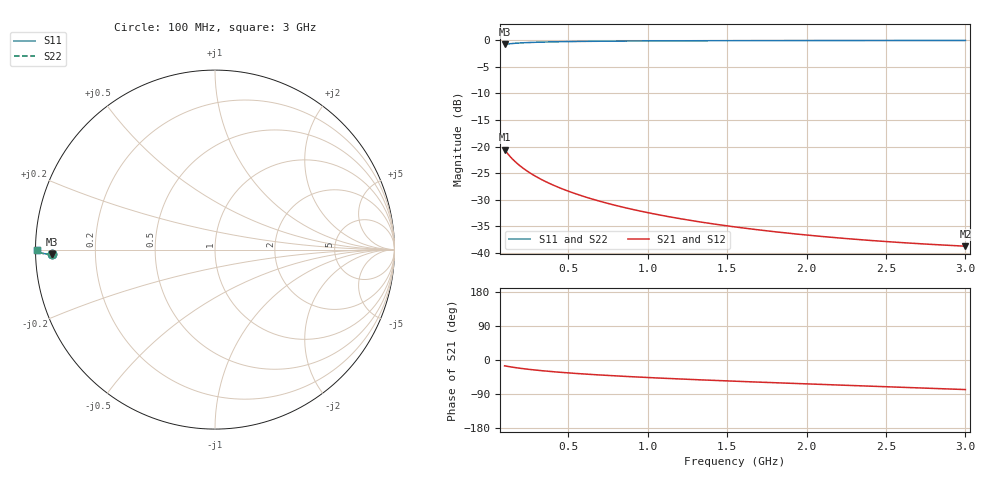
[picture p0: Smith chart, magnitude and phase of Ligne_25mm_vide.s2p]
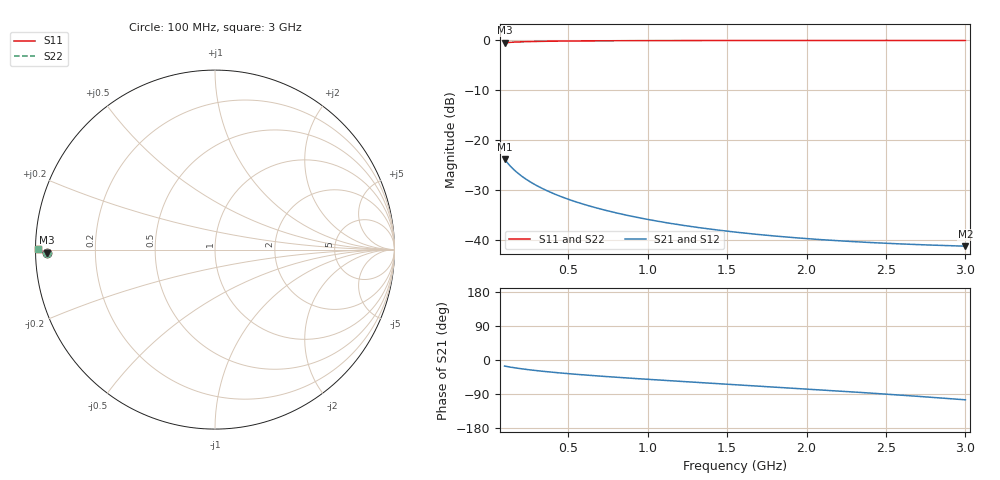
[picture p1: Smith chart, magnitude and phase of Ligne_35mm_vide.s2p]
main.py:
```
"""
Calculates the sum of two numbers.

Args:
    a (int): The first number to add.
    b (int): The second number to add.

Returns:
    int: The sum of the two input numbers.
"""

from matplotlib import pyplot as plt

from fonctions import (
    charger_fichier_s2p, deembed, propagation,
    degre_lin, linear_fit, eigenvalues,
    gamma_to_angle, get_tan_delta,
    plot_s_db_deg, plot_er_tan_delta)

if __name__ ==  "__main__":
    CHEMIN = 'my_test_data/datas' # Contenant les fichiers S2P
    FICHIERS = {
        "air_l1"   : 'Ligne_25mm_vide.s2p',
        "air_l2"   : 'Ligne_35mm_vide.s2p',
        "ref_l2"   : 'Ligne_35mm_4Rogers.s2p',
        "cible_l2" : 'Ligne_35mm_2FR4.s2p'
    }
    ER_REF = 3.4

    # NE PAS MODIFIFER SI VOUS N'ETES PAS SUR
    # Chargement des fichiers
    air_l1 = charger_fichier_s2p(
        fichier = f'{CHEMIN}/{FICHIERS["air_l1"]}',
        nom_fichier="Ligne L1 air")
    air_l2 = charger_fichier_s2p(
        fichier = f'{CHEMIN}/{FICHIERS["air_l2"]}',
        nom_fichier="Ligne L2 air")

    ref_l2 = charger_fichier_s2p(
        fichier = f'{CHEMIN}/{FICHIERS["ref_l2"]}',
        nom_fichier="Ligne L2 Réf")
    cible_l2 = charger_fichier_s2p(
        fichier = f'{CHEMIN}/{FICHIERS["cible_l2"]}',
        nom_fichier="ligne 35mm milieu")

    # Deembed
    m_air, m_ref, m_cible = deembed(
        air_l1 = air_l1,
        air_l2 = air_l2,
        ref_l2 = ref_l2,
        cible_l2 = cible_l2
        )

    # Valeurs propres lambda
    lambda_air_1, lambda_air_2 = eigenvalues(m_air)
    lambda_ref_1, lambda_ref_2 = eigenvalues(m_ref)
    lambda_cible_1, lambda_cible_2 = eigenvalues(m_cible)

    # Constante de propagation gamma
    gamma_2_air = propagation(lambda_air_1, lambda_air_2)[1]
    gamma_2_ref = propagation(lambda_ref_1, lambda_ref_2)[1]
    gamma_2_cible = propagation(lambda_cible_1, lambda_cible_2)[1]

    # Calcul de la phase
    theta_air =  gamma_to_angle(gamma_2_air)
    theta_ref =  gamma_to_angle(gamma_2_ref)
    theta_cible =  gamma_to_angle(gamma_2_cible)

    # Linéarisation de phase
    theta_air = degre_lin(theta_air)
    theta_ref = degre_lin(theta_ref)
    theta_cible = degre_lin(theta_cible)

    epsilon_ref = (theta_ref/theta_air)**2
    epsilon_rem = (theta_cible/theta_air)**2

    # Lissage des valeurs
    epsilon_ref = linear_fit(epsilon_ref)
    epsilon_rem = linear_fit(epsilon_rem)

    # cacul de espsilon
    epsilon_r = ((epsilon_rem-1)/(epsilon_ref-1))*ER_REF

    # Calcul de tan_delta
    tan_delta = get_tan_delta(
        gamma_air=gamma_2_air,
        gamma_cible=gamma_2_cible,
        er=ER_REF
        )

    # Lissage de tan_delta
    tan_delta = linear_fit(tan_delta)

    ## FIGURES
    # Figure 1 - S-Param mesure Air
    # axs = ((ax01, ax02), (ax03, ax04))
    fig_air, axes_air = plt.subplots(2, 2)
    fig_air.suptitle('Mesure avec Air pour deux lignes')
    plot_s_db_deg([air_l1, air_l2], axes_air)

    # Figure 2 - S-Param milieu cible
    fig, axes_cible = plt.subplots(2, 2)
    fig.suptitle('Avec milieu')
    plot_s_db_deg([cible_l2], axes_cible)

    # Figure 3 - plots epsilon_r et Tan_delta
    freq = air_l2.frequency.f
    # axes = (ax01, ax02)
    fig, axes = plt.subplots(2,1)
    # Tracer epsilon_r et tangente delta 
    # en fonction de la fréquence
    plot_er_tan_delta(
        list_data=[epsilon_r, tan_delta],
        freq = freq,
        axes=axes)

    plt.show()
```
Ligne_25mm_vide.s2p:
# HZ S RI R 50
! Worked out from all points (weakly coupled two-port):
!   1001 points, 100 MHz to 3 GHz, reference 50 ohm
!   highest |S21| = -20.58 dB at 100 MHz (marker M1); lowest = -38.7 dB at 3 GHz (marker M2)
!   lowest |S11| = -0.8 dB at 100 MHz (marker M3), VSWR 21.02, Z = 2.38 - j0.672 ohm
!   |S11| at or under -10 dB: nowhere
!   |S22| runs from -0.8 to -0.1 dB; largest |S21 - S12| = 0
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1e8  -0.9088 -0.0245  0.0901 -0.0248  0.0901 -0.0248  -0.9088 -0.0245
1.841e8  -0.9349 -0.024  0.0637 -0.0246  0.0637 -0.0246  -0.9349 -0.024
2.798e8  -0.9496 -0.0228  0.0487 -0.0237  0.0487 -0.0237  -0.9496 -0.0228
4.103e8  -0.9609 -0.021  0.037 -0.0223  0.037 -0.0223  -0.9609 -0.021
5.698e8  -0.9692 -0.0189  0.0283 -0.0207  0.0283 -0.0207  -0.9692 -0.0189
7.641e8  -0.9753 -0.0167  0.0217 -0.019  0.0217 -0.019  -0.9753 -0.0167
9.932e8  -0.9799 -0.0144  0.0167 -0.0173  0.0167 -0.0173  -0.9799 -0.0144
1.2542e9  -0.9833 -0.0121  0.0129 -0.0159  0.0129 -0.0159  -0.9833 -0.0121
1.55e9  -0.9857 -0.00997  0.00983 -0.0146  0.00983 -0.0146  -0.9857 -0.00997
2.2228e9  -0.9887 -0.00609  0.00552 -0.0126  0.00552 -0.0126  -0.9887 -0.00609
3e9  -0.9898 -0.00264  0.00241 -0.0113  0.00241 -0.0113  -0.9898 -0.00264
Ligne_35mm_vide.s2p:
# HZ S RI R 50
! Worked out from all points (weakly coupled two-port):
!   1001 points, 100 MHz to 3 GHz, reference 50 ohm
!   highest |S21| = -23.87 dB at 100 MHz (marker M1); lowest = -41.3 dB at 3 GHz (marker M2)
!   lowest |S11| = -0.6 dB at 100 MHz (marker M3), VSWR 30.79, Z = 1.62 - j0.458 ohm
!   |S11| at or under -10 dB: nowhere
!   |S22| runs from -0.6 to -0.1 dB; largest |S21 - S12| = 1e-13
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1e8  -0.9369 -0.0172  0.0615 -0.0177  0.0615 -0.0177  -0.9369 -0.0172
1.841e8  -0.955 -0.0164  0.0429 -0.0173  0.0429 -0.0173  -0.955 -0.0164
2.827e8  -0.9652 -0.0152  0.0322 -0.0165  0.0322 -0.0165  -0.9652 -0.0152
4.132e8  -0.9727 -0.0137  0.0241 -0.0155  0.0241 -0.0155  -0.9727 -0.0137
5.756e8  -0.9781 -0.0119  0.0181 -0.0144  0.0181 -0.0144  -0.9781 -0.0119
7.728e8  -0.982 -0.00999  0.0135 -0.0134  0.0135 -0.0134  -0.982 -0.00999
1.0019e9  -0.9848 -0.00807  0.01 -0.0124  0.01 -0.0124  -0.9848 -0.00807
1.26e9  -0.9866 -0.00621  0.00728 -0.0115  0.00728 -0.0115  -0.9866 -0.00621
1.55e9  -0.9878 -0.00441  0.00503 -0.0108  0.00503 -0.0108  -0.9878 -0.00441
2.2025e9  -0.9886 -0.00115  0.00138 -0.00964  0.00138 -0.00964  -0.9886 -0.00115
3e9  -0.9874 0.00146  -0.00223 -0.0083  -0.00223 -0.0083  -0.9874 0.00146
